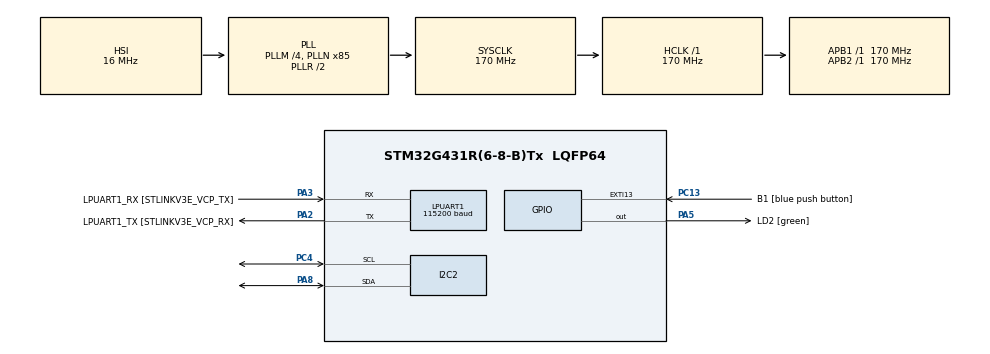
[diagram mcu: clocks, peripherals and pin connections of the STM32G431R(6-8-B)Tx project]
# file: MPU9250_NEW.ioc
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I2C2.Timing=0x30A0A7FB
LPUART1.BaudRate=115200
LPUART1.WordLength=UART_WORDLENGTH_8B
Mcu.Family=STM32G4
Mcu.Name=STM32G431R(6-8-B)Tx
Mcu.Package=LQFP64
NVIC.PriorityGroup=NVIC_PRIORITYGROUP_4
PA13.GPIO_Label=T_SWDIO
PA13.Mode=Serial_Wire
PA13.Signal=SYS_JTMS-SWDIO
PA14.GPIO_Label=T_SWCLK
PA14.Mode=Serial_Wire
PA14.Signal=SYS_JTCK-SWCLK
PA2.GPIO_Label=LPUART1_TX [STLINKV3E_VCP_RX]
PA2.Mode=Asynchronous
PA2.Signal=LPUART1_TX
PA3.GPIO_Label=LPUART1_RX [STLINKV3E_VCP_TX]
PA3.Mode=Asynchronous
PA3.Signal=LPUART1_RX
PA5.GPIO_Label=LD2 [green]
PA5.Signal=GPIO_Output
PA8.Mode=I2C
PA8.Signal=I2C2_SDA
PB3.GPIO_Label=T_SWO
PB3.Signal=SYS_JTDO-SWO
PC13.GPIO_Label=B1 [blue push button]
PC13.Signal=GPXTI13
PC14-OSC32_IN.Mode=LSE-External-Oscillator
PC14-OSC32_IN.Signal=RCC_OSC32_IN
PC15-OSC32_OUT.Mode=LSE-External-Oscillator
PC15-OSC32_OUT.Signal=RCC_OSC32_OUT
PC4.Mode=I2C
PC4.Signal=I2C2_SCL
PF0-OSC_IN.Mode=HSE-External-Oscillator
PF0-OSC_IN.Signal=RCC_OSC_IN
PF1-OSC_OUT.Mode=HSE-External-Oscillator
PF1-OSC_OUT.Signal=RCC_OSC_OUT
ProjectManager.HeapSize=0x200
ProjectManager.StackSize=0x400
ProjectManager.TargetToolchain=STM32CubeIDE
RCC.ADC12Freq_Value=170000000
RCC.AHBFreq_Value=170000000
RCC.APB1Freq_Value=170000000
RCC.APB1TimFreq_Value=170000000
RCC.APB2Freq_Value=170000000
RCC.APB2TimFreq_Value=170000000
RCC.CortexFreq_Value=170000000
RCC.EXTERNAL_CLOCK_VALUE=12288000
RCC.HCLKFreq_Value=170000000
RCC.HSE_VALUE=24000000
RCC.HSI48_VALUE=48000000
RCC.HSI_VALUE=16000000
RCC.PLLM=RCC_PLLM_DIV4
RCC.PLLN=85
RCC.RTCClockSelection=RCC_RTCCLKSOURCE_LSE
RCC.SYSCLKFreq_VALUE=170000000
RCC.SYSCLKSource=RCC_SYSCLKSOURCE_PLLCLK
RCC.USBFreq_Value=170000000
RCC.VCOOutputFreq_Value=340000000
TIM1.PeriodNoDither=0xffff-1
TIM1.Prescaler=170-1
VP_SYS_VS_DBSignals.Mode=DisableDeadBatterySignals
VP_TIM1_VS_ClockSourceINT.Mode=Internal
board=NUCLEO-G431RB

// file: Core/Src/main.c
/* USER CODE BEGIN Header */
/**
  ******************************************************************************
  * @file           : main.c
  * @brief          : Main program body
  ******************************************************************************
  * @attention
  *
  * Copyright (c) 2022 STMicroelectronics.
  * All rights reserved.
  *
  * This software is licensed under terms that can be found in the LICENSE file
  * in the root directory of this software component.
  * If no LICENSE file comes with this software, it is provided AS-IS.
  *
  ******************************************************************************
  */
/* USER CODE END Header */
#include "main.h"
#include "i2c.h"
#include "usart.h"
#include "tim.h"
#include "gpio.h"

/* USER CODE BEGIN Includes */
#include <stdio.h>
#include "mpu9255.h"
/* USER CODE END Includes */

/* USER CODE BEGIN PV */
MPU9255_t MPU9255;
/* USER CODE END PV */

void SystemClock_Config(void);

/* USER CODE BEGIN 0 */
int _write(int file, char *ptr, int len)
{
	HAL_UART_Transmit(&hlpuart1, (uint8_t*)ptr, len, HAL_MAX_DELAY);
	return len;
}

float pitch;
float yaw;
float roll;
/* USER CODE END 0 */

int main(void)
{

  /* MCU Configuration--------------------------------------------------------*/

  /* Reset of all peripherals, Initializes the Flash interface and the Systick. */
  HAL_Init();

  /* Configure the system clock */
  SystemClock_Config();

  /* Initialize all configured peripherals */
  MX_GPIO_Init();
  MX_LPUART1_UART_Init();
  MX_TIM1_Init();
  MX_I2C2_Init();
  /* USER CODE BEGIN 2 */

  __HAL_TIM_SET_COUNTER(&htim1,0);
  HAL_TIM_Base_Start(&htim1);
  while (MPU9255_Init(&hi2c2) == 1);

  //int count;

  HAL_Delay(3000);
  /* USER CODE END 2 */

  /* Infinite loop */
  while (1)
  {

    /* USER CODE BEGIN 3 */

	readAll(&hi2c2, &MPU9255);

	pitch = MPU9255.pitch;
	yaw = MPU9255.yaw;
	roll= MPU9255.roll;

	/*
	if (count == 10){
		printf("%f\t", yaw);
		printf("%f\t", pitch);
		printf("%f\t\n", roll);
		count = 0;
	}
	count++;
	*/

  }
  /* USER CODE END 3 */
}

void SystemClock_Config(void)
{
  RCC_OscInitTypeDef RCC_OscInitStruct = {0};
  RCC_ClkInitTypeDef RCC_ClkInitStruct = {0};

  /** Configure the main internal regulator output voltage
  */
  HAL_PWREx_ControlVoltageScaling(PWR_REGULATOR_VOLTAGE_SCALE1_BOOST);
  /** Initializes the RCC Oscillators according to the specified parameters
  * in the RCC_OscInitTypeDef structure.
  */
  RCC_OscInitStruct.OscillatorType = RCC_OSCILLATORTYPE_HSI;
  RCC_OscInitStruct.HSIState = RCC_HSI_ON;
  RCC_OscInitStruct.HSICalibrationValue = RCC_HSICALIBRATION_DEFAULT;
  RCC_OscInitStruct.PLL.PLLState = RCC_PLL_ON;
  RCC_OscInitStruct.PLL.PLLSource = RCC_PLLSOURCE_HSI;
  RCC_OscInitStruct.PLL.PLLM = RCC_PLLM_DIV4;
  RCC_OscInitStruct.PLL.PLLN = 85;
  RCC_OscInitStruct.PLL.PLLP = RCC_PLLP_DIV2;
  RCC_OscInitStruct.PLL.PLLQ = RCC_PLLQ_DIV2;
  RCC_OscInitStruct.PLL.PLLR = RCC_PLLR_DIV2;
  if (HAL_RCC_OscConfig(&RCC_OscInitStruct) != HAL_OK)
  {
    Error_Handler();
  }
  /** Initializes the CPU, AHB and APB buses clocks
  */
  RCC_ClkInitStruct.ClockType = RCC_CLOCKTYPE_HCLK|RCC_CLOCKTYPE_SYSCLK
                              |RCC_CLOCKTYPE_PCLK1|RCC_CLOCKTYPE_PCLK2;
  RCC_ClkInitStruct.SYSCLKSource = RCC_SYSCLKSOURCE_PLLCLK;
  RCC_ClkInitStruct.AHBCLKDivider = RCC_SYSCLK_DIV1;
  RCC_ClkInitStruct.APB1CLKDivider = RCC_HCLK_DIV1;
  RCC_ClkInitStruct.APB2CLKDivider = RCC_HCLK_DIV1;

  if (HAL_RCC_ClockConfig(&RCC_ClkInitStruct, FLASH_LATENCY_4) != HAL_OK)
  {
    Error_Handler();
  }
}

void Error_Handler(void)
{
  __disable_irq();
  while (1)
  {
  }
}
